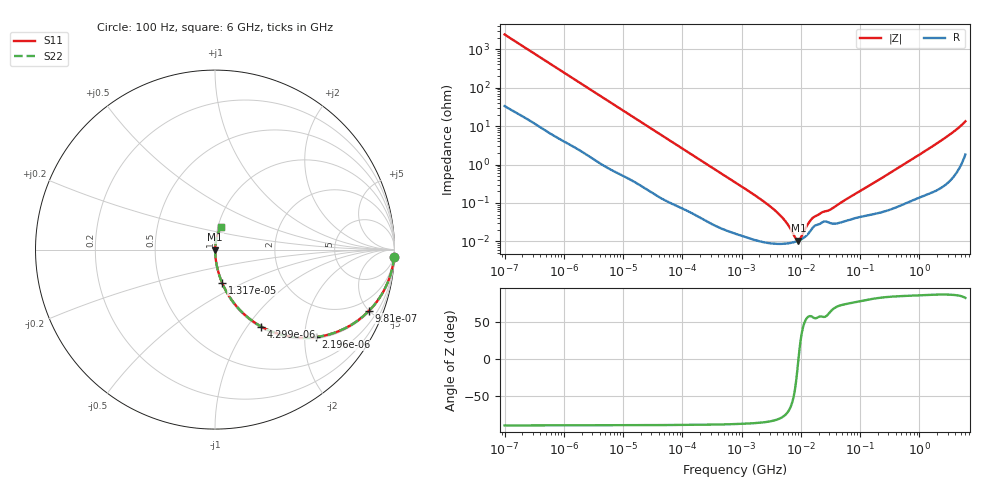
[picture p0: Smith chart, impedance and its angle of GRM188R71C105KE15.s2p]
!Murata Part Number: GRM188R71C105KE15
!These Parameters are Measured in Series Mode Connection
!Data Generated on Mar 30, 2021
!  o--ll--o
!Port1  Port2
!  o------o
!Operation Temp=25[degC], DC Bias Voltage=0[V]
!Freq. Start=100[Hz] Stop=6[GHz] 401[Steps]
# Hz S RI R 50
!Freq.(Hz) S11(Real) S11(Imag) S21(Real) S21(Imag) S12(Real) S12(Imag) S22(Real) S22(Imag)
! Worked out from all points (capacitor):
!   401 points, 100 Hz to 6 GHz, reference 50 ohm
!   read as one part in series: C = 658 nF near 109 Hz
!   lowest |Z| = 10.4 mohm at 9.09 MHz (marker M1)
!   series resonance near 9.129 MHz, so ESL is about 460 pH
!   S11 on the Smith chart (normalised r, x): 100 Hz: 2, -48; 981 Hz: 1.08, -5.03; 2.196 kHz: 1.04, -2.27; 4.299 kHz: 1.02, -1.17; 13.17 kHz: 1.01, -0.39; 6 GHz: 1.04, +0.26
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100  0.9977 -0.0413  0.00228 0.0413  0.00228 0.0413  0.9977 -0.0413
335  0.9795 -0.1341  0.0205 0.1341  0.0205 0.1341  0.9795 -0.1341
981  0.8593 -0.3397  0.1407 0.3397  0.1407 0.3397  0.8593 -0.3397
2008  0.6033 -0.4805  0.3967 0.4805  0.3967 0.4805  0.6033 -0.4805
2196  0.561 -0.4876  0.439 0.4876  0.439 0.4876  0.561 -0.4876
4299  0.2573 -0.4285  0.7427 0.4285  0.7427 0.4285  0.2573 -0.4285
7036  0.1181 -0.3135  0.8819 0.3135  0.8819 0.3135  0.1181 -0.3135
13169  0.0394 -0.1844  0.9606 0.1844  0.9606 0.1844  0.0394 -0.1844
40335  0.00547 -0.0635  0.9945 0.0635  0.9945 0.0635  0.00547 -0.0635
774597  0.000171 -0.00346  0.9998 0.00346  0.9998 0.00346  0.000171 -0.00346
2169299  9.95e-05 -0.0012  0.9999 0.0012  0.9999 0.0012  9.95e-05 -0.0012
3882480  8.68e-05 -0.000585  0.9999 0.000585  0.9999 0.000585  8.68e-05 -0.000585
5554849  8.76e-05 -0.000316  0.9999 0.000316  0.9999 0.000316  8.76e-05 -0.000316
7947587  9.7e-05 -8.55e-05  0.9999 8.55e-05  0.9999 8.55e-05  9.7e-05 -8.55e-05
9090158  0.000104 -2.6e-06  0.9999 2.6e-06  0.9999 2.6e-06  0.000104 -2.6e-06
9941735  0.000111 5.31e-05  0.9999 -5.31e-05  0.9999 -5.31e-05  0.000111 5.31e-05
1.300572e7  0.000152 0.000226  0.9998 -0.000226  0.9998 -0.000226  0.000152 0.000226
1.555665e7  0.000218 0.000332  0.9998 -0.000332  0.9998 -0.000332  0.000218 0.000332
3.330331e7  0.000293 0.000644  0.9997 -0.000644  0.9997 -0.000644  0.000293 0.000644
3.124326e8  0.000693 0.00586  0.9993 -0.00586  0.9993 -0.00586  0.000693 0.00586
2.240541e9  0.00396 0.0399  0.996 -0.0399  0.996 -0.0399  0.00396 0.0399
6e9  0.0341 0.1252  0.9659 -0.1252  0.9659 -0.1252  0.0341 0.1252
